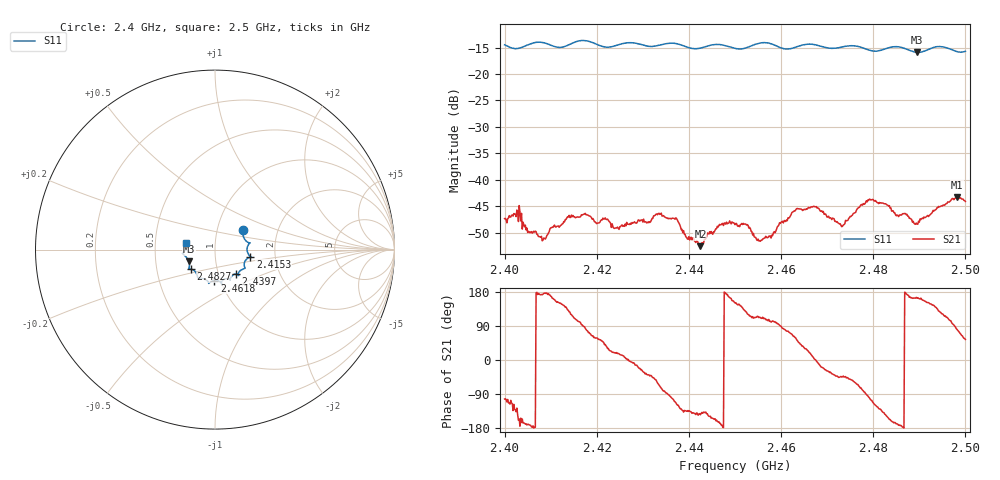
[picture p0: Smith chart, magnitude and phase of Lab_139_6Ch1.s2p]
# Hz S RI R 50
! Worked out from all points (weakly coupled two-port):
!   601 points, 2.4 GHz to 2.5 GHz, reference 50 ohm
!   highest |S21| = -43.30 dB at 2.4982 GHz (marker M1); lowest = -52.6 dB at 2.4425 GHz (marker M2)
!   lowest |S11| = -15.9 dB at 2.4895 GHz (marker M3), VSWR 1.38, Z = 37 - j5.01 ohm
!   |S11| at or under -10 dB: start of sweep to end of sweep
!   S12 and S22 are empty: the file has one direction only
!   S11 on the Smith chart (normalised r, x): 2.4 GHz: 1.33, +0.30; 2.4153 GHz: 1.48, -0.12; 2.4397 GHz: 1.21, -0.34; 2.4618 GHz: 0.94, -0.33; 2.4827 GHz: 0.75, -0.17; 2.5 GHz: 0.72, +0.06
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2.4e9  0.1554 0.1071  -0.000961 -0.00418  0 0  0 0
2.403167e9  0.1663 0.0571  -0.00519 -0.00236  0 0  0 0
2.405167e9  0.1854 0.0393  -0.0032 -0.000577  0 0  0 0
2.4085e9  0.1941 0.0367  -0.00281 0.000216  0 0  0 0
2.415333e9  0.1968 -0.0391  -0.00139 0.00415  0 0  0 0
2.416667e9  0.2027 -0.0433  -0.000258 0.00466  0 0  0 0
2.424333e9  0.1631 -0.0911  0.0033 0.00118  0 0  0 0
2.433333e9  0.1296 -0.1338  0.00216 -0.00426  0 0  0 0
2.437167e9  0.1312 -0.1431  -0.0017 -0.00403  0 0  0 0
2.439667e9  0.1167 -0.1358  -0.00189 -0.00199  0 0  0 0
2.4425e9  0.0917 -0.1499  -0.00192 -0.00137  0 0  0 0
2.45e9  0.0656 -0.1622  -0.00328 0.00184  0 0  0 0
2.455333e9  0.0369 -0.1924  -0.00103 0.00245  0 0  0 0
2.461833e9  -0.00333 -0.1729  0.00134 0.0042  0 0  0 0
2.466667e9  -0.0349 -0.188  0.00542 0.00116  0 0  0 0
2.473333e9  -0.0836 -0.1599  0.0026 -0.00255  0 0  0 0
2.478833e9  -0.1023 -0.1355  -0.000538 -0.00642  0 0  0 0
2.482667e9  -0.1349 -0.1087  -0.00482 -0.00345  0 0  0 0
2.483333e9  -0.1401 -0.1083  -0.00505 -0.00249  0 0  0 0
2.4895e9  -0.1458 -0.0659  -0.00364 0.00111  0 0  0 0
2.498167e9  -0.1627 0.00712  0.00109 0.00675  0 0  0 0
2.5e9  -0.1593 0.0383  0.00365 0.00505  0 0  0 0
